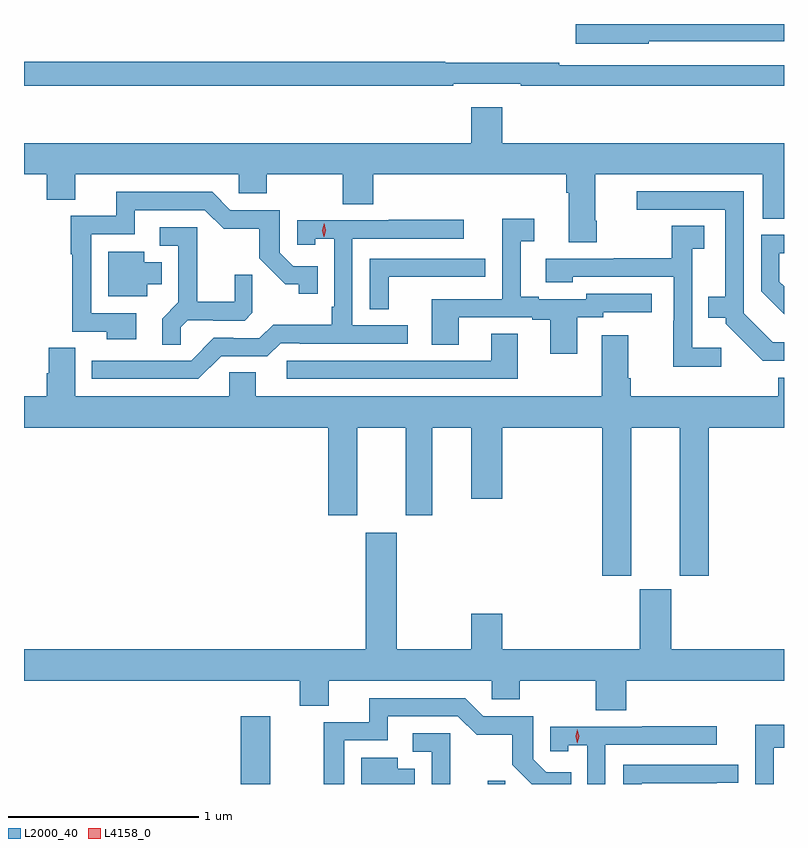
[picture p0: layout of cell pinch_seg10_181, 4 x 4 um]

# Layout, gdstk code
import gdstk
lib = gdstk.Library(unit=1e-6, precision=1e-09)
def R(c, l, rs):  # rectangles x0, y0, x1, y1
    for r in rs: c.add(gdstk.rectangle(r[:2], r[2:], *l))
def P(c, l, *ps):  # polygons
    for p in ps: c.add(gdstk.Polygon(p, *l))
L2000_40 = (2000, 40)
L4158_0 = (4158, 0)

pinch_seg10_181 = lib.new_cell('pinch_seg10_181')
R(pinch_seg10_181, L2000_40, [(751.208,1266.472,751.362,1266.829), (752.506,1266.472,752.6,1266.489)])
P(pinch_seg10_181, L2000_40, [(753.354,1270.38),(754.066,1270.38),(754.066,1270.472),(752.97,1270.472),(752.97,1270.367),(753.354,1270.367)],
  [(752.324,1270.158),(752.68,1270.158),(752.68,1270.146),(754.066,1270.146),(754.066,1270.254),(752.882,1270.254),(752.882,1270.267),(752.282,1270.267),(752.282,1270.274),(750.066,1270.274),(750.066,1270.146),(752.324,1270.146)],
  [(753.081,1269.436),(753.073,1269.436),(753.073,1269.68),(753.953,1269.68),(753.953,1269.448),(754.066,1269.448),(754.066,1269.844),(752.584,1269.844),(752.584,1270.033),(752.42,1270.033),(752.42,1269.844),(750.066,1269.844),(750.066,1269.68),(750.185,1269.68),(750.185,1269.547),(750.337,1269.547),(750.337,1269.68),(751.197,1269.68),(751.197,1269.582),(751.344,1269.582),(751.344,1269.68),(751.744,1269.68),(751.744,1269.523),(751.904,1269.523),(751.904,1269.68),(752.921,1269.68),(752.921,1269.584),(752.933,1269.584),(752.933,1269.324),(753.081,1269.324)],
  [(754.066,1268.796),(754.008,1268.796),(753.855,1268.949),(753.855,1269.591),(753.291,1269.591),(753.291,1269.495),(753.758,1269.495),(753.758,1269.037),(753.667,1269.037),(753.667,1268.927),(753.759,1268.927),(753.759,1268.895),(753.954,1268.7),(754.066,1268.7)],
  [(750.658,1268.949),(750.42,1268.949),(750.42,1269.366),(750.649,1269.366),(750.649,1269.492),(751.017,1269.492),(751.116,1269.394),(751.305,1269.394),(751.305,1269.238),(751.442,1269.101),(751.512,1269.101),(751.512,1269.051),(751.613,1269.051),(751.613,1269.198),(751.482,1269.198),(751.413,1269.267),(751.413,1269.492),(751.152,1269.492),(751.056,1269.588),(750.551,1269.588),(750.551,1269.462),(750.312,1269.462),(750.312,1269.259),(750.319,1269.259),(750.319,1268.853),(750.502,1268.853),(750.502,1268.813),(750.658,1268.813)],
  [(752.977,1268.928),(753.114,1268.928),(753.114,1268.955),(753.37,1268.955),(753.37,1269.051),(753.024,1269.051),(753.024,1269.024),(752.776,1269.024),(752.776,1269.037),(752.68,1269.037),(752.68,1269.328),(752.752,1269.328),(752.752,1269.448),(752.583,1269.448),(752.583,1269.024),(752.213,1269.024),(752.213,1268.785),(752.353,1268.785),(752.353,1268.928),(752.741,1268.928),(752.741,1268.916),(752.837,1268.916),(752.837,1268.736),(752.977,1268.736)],
  [(751.104,1268.724),(751.347,1268.724),(751.416,1268.793),(751.516,1268.793),(751.516,1268.79),(752.086,1268.79),(752.086,1268.886),(751.794,1268.886),(751.794,1269.342),(752.38,1269.342),(752.38,1269.441),(751.987,1269.441),(751.987,1269.438),(751.503,1269.438),(751.503,1269.309),(751.599,1269.309),(751.599,1269.341),(751.698,1269.341),(751.698,1268.983),(751.686,1268.983),(751.686,1268.89),(751.378,1268.89),(751.305,1268.817),(751.166,1268.817),(751.166,1268.82),(751.065,1268.82),(750.945,1268.7),(750.422,1268.7),(750.422,1268.604),(750.984,1268.604)],
  [(753.736,1268.767),(753.582,1268.767),(753.582,1269.289),(753.646,1269.289),(753.646,1269.41),(753.474,1269.41),(753.474,1269.24),(753.169,1269.24),(753.169,1269.237),(752.811,1269.237),(752.811,1269.113),(752.955,1269.113),(752.955,1269.141),(753.486,1269.141),(753.486,1268.909),(753.484,1268.909),(753.484,1268.669),(753.736,1268.669)],
  [(750.891,1268.876),(750.928,1268.913),(751.062,1268.913),(751.062,1268.91),(751.227,1268.91),(751.268,1268.951),(751.268,1269.153),(751.174,1269.153),(751.174,1269.01),(750.977,1269.01),(750.977,1269.402),(750.78,1269.402),(750.78,1269.306),(750.879,1269.306),(750.879,1269.007),(750.793,1268.921),(750.793,1268.785),(750.891,1268.785)],
  [(754.066,1269.092),(754.042,1269.116),(754.042,1269.266),(754.066,1269.266),(754.066,1269.363),(753.945,1269.363),(753.945,1269.065),(754.066,1268.944)],
  [(750.715,1269.101),(750.79,1269.101),(750.79,1269.217),(750.7,1269.217),(750.7,1269.274),(750.509,1269.274),(750.509,1269.038),(750.715,1269.038)],
  [(751.986,1269.141),(752.381,1269.141),(752.381,1269.142),(752.494,1269.142),(752.494,1269.237),(751.887,1269.237),(751.887,1268.971),(751.986,1268.971)],
  [(752.665,1268.843),(752.525,1268.843),(752.525,1268.7),(751.449,1268.7),(751.449,1268.604),(752.665,1268.604)],
  [(753.262,1268.348),(753.518,1268.348),(753.518,1267.569),(753.671,1267.569),(753.671,1268.348),(754.066,1268.348),(754.066,1268.611),(754.037,1268.611),(754.037,1268.512),(753.26,1268.512),(753.26,1268.608),(753.247,1268.608),(753.247,1268.833),(753.107,1268.833),(753.107,1268.512),(751.285,1268.512),(751.285,1268.639),(751.146,1268.639),(751.146,1268.512),(750.337,1268.512),(750.337,1268.768),(750.197,1268.768),(750.197,1268.634),(750.185,1268.634),(750.185,1268.512),(750.066,1268.512),(750.066,1268.348),(751.667,1268.348),(751.667,1267.887),(751.819,1267.887),(751.819,1268.348),(752.075,1268.348),(752.075,1267.887),(752.215,1267.887),(752.215,1268.348),(752.42,1268.348),(752.42,1267.974),(752.584,1267.974),(752.584,1268.348),(753.11,1268.348),(753.11,1267.569),(753.262,1267.569)],
  [(753.236,1267.016),(754.066,1267.016),(754.066,1267.18),(753.472,1267.18),(753.472,1267.497),(753.308,1267.497),(753.308,1267.18),(752.584,1267.18),(752.584,1267.369),(752.42,1267.369),(752.42,1267.18),(752.029,1267.18),(752.029,1267.795),(751.865,1267.795),(751.865,1267.18),(750.066,1267.18),(750.066,1267.016),(751.517,1267.016),(751.517,1266.883),(751.669,1266.883),(751.669,1267.016),(752.529,1267.016),(752.529,1266.918),(752.676,1266.918),(752.676,1267.016),(753.076,1267.016),(753.076,1266.859),(753.236,1266.859)],
  [(751.752,1266.702),(751.981,1266.702),(751.981,1266.828),(752.349,1266.828),(752.448,1266.73),(752.637,1266.73),(752.637,1266.574),(752.739,1266.472),(752.945,1266.472),(752.945,1266.534),(752.814,1266.534),(752.745,1266.603),(752.745,1266.828),(752.484,1266.828),(752.388,1266.924),(751.883,1266.924),(751.883,1266.798),(751.644,1266.798),(751.644,1266.472),(751.752,1266.472)],
  [(754.012,1266.664),(754.066,1266.664),(754.066,1266.784),(753.915,1266.784),(753.915,1266.472),(754.012,1266.472)],
  [(753.126,1266.678),(753.712,1266.678),(753.712,1266.777),(753.319,1266.777),(753.319,1266.774),(752.835,1266.774),(752.835,1266.645),(752.931,1266.645),(752.931,1266.677),(753.03,1266.677),(753.03,1266.472),(753.126,1266.472)],
  [(752.309,1266.738),(752.112,1266.738),(752.112,1266.642),(752.211,1266.642),(752.211,1266.472),(752.309,1266.472)],
  [(752.122,1266.553),(752.032,1266.553),(752.032,1266.61),(751.841,1266.61),(751.841,1266.472),(752.122,1266.472)],
  [(753.318,1266.477),(753.713,1266.477),(753.713,1266.478),(753.826,1266.478),(753.826,1266.573),(753.219,1266.573),(753.219,1266.472),(753.318,1266.472)])
P(pinch_seg10_181, L4158_0, [(751.644,1269.351),(751.644,1269.351),(751.635,1269.387),(751.645,1269.423),(751.645,1269.423),(751.646,1269.423),(751.655,1269.387),(751.645,1269.351)],
  [(752.978,1266.687),(752.969,1266.723),(752.978,1266.758),(752.979,1266.759),(752.979,1266.758),(752.989,1266.723),(752.979,1266.687),(752.979,1266.687)])

lib.write_gds('pinch_seg10_181.gds')
